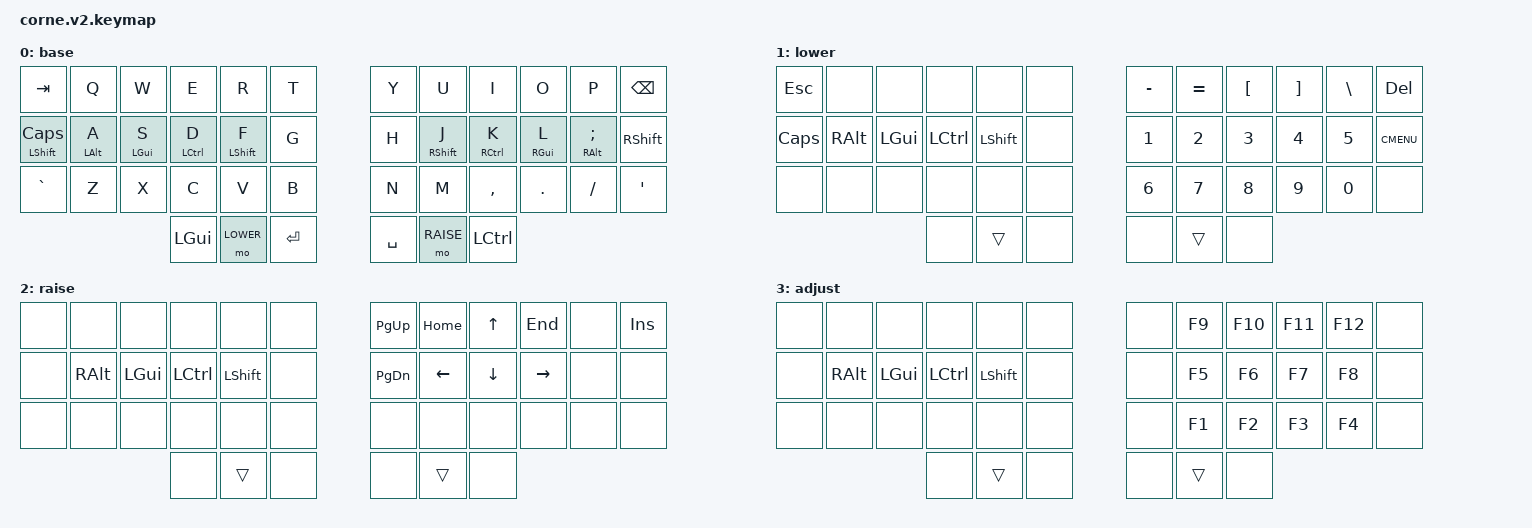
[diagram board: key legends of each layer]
/*
 * Copyright (c) 2020 The ZMK Contributors
 *
 * SPDX-License-Identifier: MIT
 */
#include <behaviors.dtsi>
#include <dt-bindings/zmk/keys.h>
#include <dt-bindings/zmk/bt.h>

#define DEFAULT 0
#define LOWER   1
#define RAISE   2
#define ADJUS   3

/ {
  combos {
    compatible = "zmk,combos";

    cmb_caps {
      key-positions = <17 18>;
      bindings = <&kp CAPS>;
    };

    cmb_esc {
      key-positions = <4 5>;
      bindings = <&kp ESC>;
    };

    cmb_del {
      key-positions = <6 7>;
      bindings = <&kp DEL>;
    };

    cmb_f5 {
      key-positions = <30 31>;
      bindings = <&kp F5>;
    };

    cmb_f10 {
      key-positions = <31 32>;
      bindings = <&kp F10>;
    };

    cmb_f11 {
      key-positions = <32 33>;
      bindings = <&kp F11>;
    };

    cmb_f12 {
      key-positions = <33 34>;
      bindings = <&kp F12>;
    };
  };

  behaviors {
    hml: homewrow_mods_left {
      label = "HOMEROW_MODS_LEFT_HAND";
      compatible = "zmk,behavior-hold-tap";
      #binding-cells = <2>;
      flavor = "tap-preferred";
      tapping-term-ms = <200>;
      quick-tap-ms = <150>;
      bindings = <&kp>, <&kp>;
      hold-trigger-key-positions = <6 7 8 9 10 11 18 19 20 21 22 23 30 31 32 33 34 35 39 40 41>;
    };

    hmr: homewrow_mods_right {
      label = "HOMEROW_MODS_RIGHT_HAND";
      compatible = "zmk,behavior-hold-tap";
      #binding-cells = <2>;
      flavor = "tap-preferred";
      tapping-term-ms = <200>;
      quick-tap-ms = <150>;
      bindings = <&kp>, <&kp>;
      hold-trigger-key-positions = <0 1 2 3 4 5 12 13 14 15 16 17 24 25 26 27 28 29 36 37 38>;
    };
  };

  conditional_layers {
    compatible = "zmk,conditional-layers";

    tri_layer {
      if-layers = <LOWER RAISE>;
      then-layer = <ADJUS>;
    };
  };

  keymap {
    compatible = "zmk,keymap";

    base {
      bindings = <
        &kp TAB          &kp Q            &kp W        &kp E         &kp R          &kp T        &kp Y      &kp U          &kp I         &kp O        &kp P                &kp BACKSPACE
        &hml LSHFT CAPS  &hml LEFT_ALT A  &hml LGUI S  &hml LCTRL D  &hml LSHIFT F  &kp G        &kp H      &hmr RSHIFT J  &hmr RCTRL K  &hmr RGUI L  &hmr RIGHT_ALT SEMI  &kp RSHIFT
        &kp GRAVE        &kp Z            &kp X        &kp C         &kp V          &kp B        &kp N      &kp M          &kp COMMA     &kp DOT      &kp FSLH             &kp SQT
                                                       &kp LGUI      &mo LOWER      &kp ENTER    &kp SPACE  &mo RAISE      &kp LCTRL
      >;
    };

    lower {
      bindings = <
        &kp ESC   &none     &none     &none      &none      &none    &kp MINUS  &kp EQUAL  &kp LBKT  &kp RBKT  &kp BSLH  &kp DEL
        &kp CAPS  &kp RALT  &kp LGUI  &kp LCTRL  &kp LSHFT  &none    &kp N1     &kp N2     &kp N3    &kp N4    &kp N5    &kp K_CMENU
        &none     &none     &none     &none      &none      &none    &kp N6     &kp N7     &kp N8    &kp N9    &kp N0    &none
                                      &none      &trans     &none    &none      &trans     &none
      >;
    };

    raise {
      bindings = <
        &none  &none     &none     &none      &none      &none    &kp PG_UP  &kp HOME  &kp UP    &kp END    &none  &kp INS
        &none  &kp RALT  &kp LGUI  &kp LCTRL  &kp LSHFT  &none    &kp PG_DN  &kp LEFT  &kp DOWN  &kp RIGHT  &none  &none
        &none  &none     &none     &none      &none      &none    &none      &none     &none     &none      &none  &none
                                   &none      &trans     &none    &none      &trans    &none
      >;
    };

    adjust {
      bindings = <
        &none  &none     &none     &none      &none      &none    &none  &kp F9  &kp F10  &kp F11  &kp F12  &none
        &none  &kp RALT  &kp LGUI  &kp LCTRL  &kp LSHFT  &none    &none  &kp F5  &kp F6   &kp F7   &kp F8   &none
        &none  &none     &none     &none      &none      &none    &none  &kp F1  &kp F2   &kp F3   &kp F4   &none
                                   &none      &trans     &none    &none  &trans  &none
      >;
    };
  };
};
